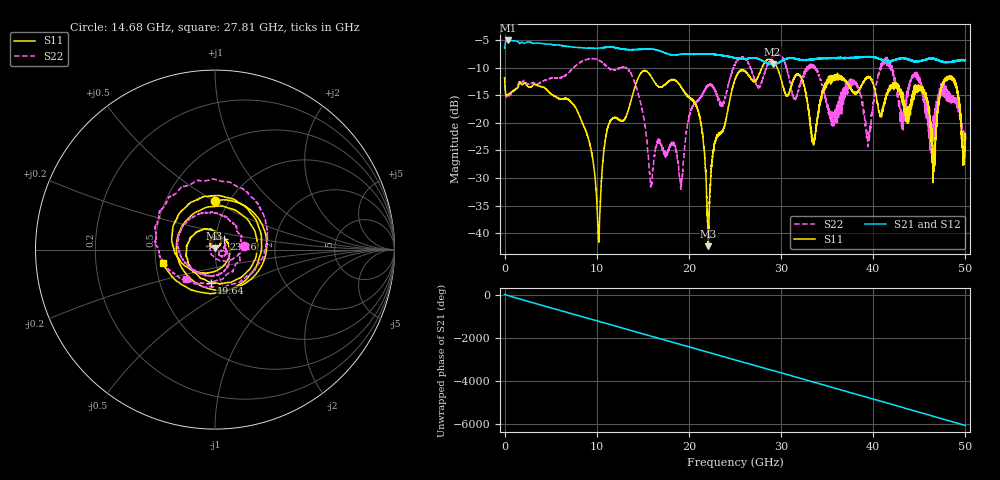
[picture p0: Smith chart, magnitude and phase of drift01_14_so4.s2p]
!Created with skrf (http://scikit-rf.org).
# Hz S RI R 50.0
!freq ReS11 ImS11 ReS21 ImS21 ReS12 ImS12 ReS22 ImS22
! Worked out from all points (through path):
!   10001 points, 300 kHz to 50 GHz, reference 50 ohm
!   highest |S21| = -5.05 dB at 390.3 MHz (marker M1); lowest = -9.4 dB at 29.08 GHz (marker M2)
!   group delay of S21, straight-line fit = 336 ps
!   lowest |S11| = -42.4 dB at 22.09 GHz (marker M3), VSWR 1.02, Z = 49.8 + j0.726 ohm
!   |S11| at or under -10 dB: start of sweep to 27.92 GHz; 29.58 GHz to end of sweep
!   |S22| runs from -32.0 to -7.5 dB; largest |S21 - S12| = 0.011
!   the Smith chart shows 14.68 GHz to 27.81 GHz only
!   S11 on the Smith chart (normalised r, x): 14.68 GHz: 0.86, +0.51; 19.64 GHz: 0.90, -0.34; 23.26 GHz: 1.10, +0.13; 27.81 GHz: 0.54, -0.09
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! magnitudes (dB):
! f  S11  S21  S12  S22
! 300 kHz  -11.9  -6.4  -6.5  -11.7
! 390.3 MHz  -14.9  -5.1  -5.1  -15.2
! 8.335 GHz  -19.6  -6.4  -6.4  -8.9
! 10.2 GHz  -41.1  -6.4  -6.4  -8.6
! 11.24 GHz  -20.7  -6.3  -6.2  -10.0
! 14.68 GHz  -11.3  -6.7  -6.7  -15.8
! 15.87 GHz  -11.5  -6.6  -6.6  -31.4
! 16.67 GHz  -13.4  -6.9  -6.9  -23.1
! 19.64 GHz  -14.7  -7.5  -7.5  -23.0
! 21.23 GHz  -19.5  -7.5  -7.5  -15.6
! 22.09 GHz  -42.4  -7.5  -7.5  -13.2
! 23.26 GHz  -22.0  -7.7  -7.7  -15.7
! 25 GHz  -12.1  -8.2  -8.3  -9.4
! 27.81 GHz  -10.4  -8.6  -8.6  -12.8
! 29.08 GHz  -8.7  -9.4  -9.4  -8.0
! 33.34 GHz  -22.6  -8.5  -8.5  -9.6
! 39.47 GHz  -11.7  -8.1  -8.1  -22.6
! 41.67 GHz  -13.9  -8.8  -8.8  -9.3
! 45.36 GHz  -13.4  -8.7  -8.7  -14.4
! 46.55 GHz  -26.7  -8.3  -8.3  -20.5
! 48.53 GHz  -11.8  -8.9  -8.9  -15.3
! 50 GHz  -23.0  -8.7  -8.7  -23.0
